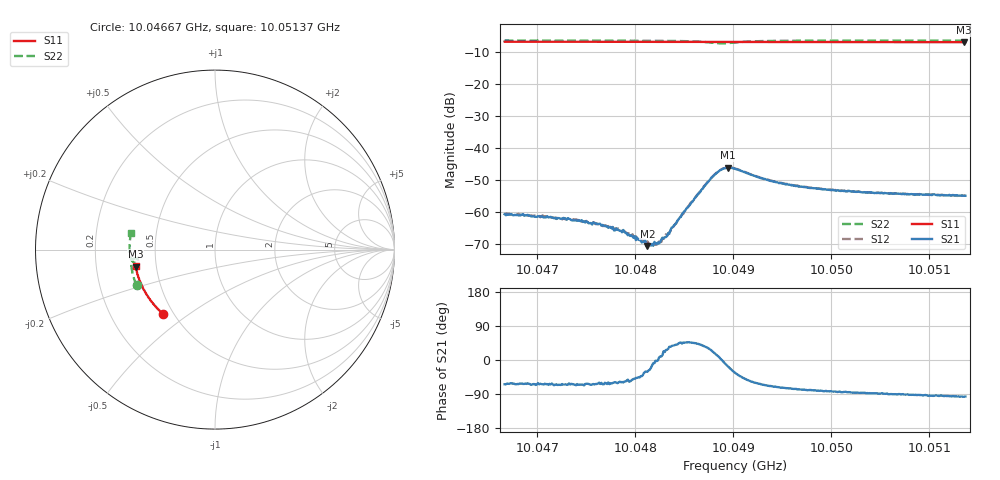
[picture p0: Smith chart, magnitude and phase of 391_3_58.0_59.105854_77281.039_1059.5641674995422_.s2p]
#  HZ  S  RI  R  50.00
! Rohde & Schwarz Vector Network Analyzer
! Rohde-Schwarz,ZNB20-2Port,1311601062101988,3.16
! Created: UTC 3/21/2024, 1:07:51 AM
! freq[Hz]  re:S11  im:S11  re:S21  im:S21  re:S12  im:S12  re:S22  im:S22
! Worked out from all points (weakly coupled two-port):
!   401 points, 10.04667 GHz to 10.05137 GHz, reference 50 ohm
!   highest |S21| = -46.04 dB at 10.04895 GHz (marker M1); lowest = -70.5 dB at 10.04812 GHz (marker M2)
!   lowest |S11| = -6.9 dB at 10.05136 GHz (marker M3), VSWR 2.65, Z = 19 - j4.51 ohm
!   |S11| at or under -10 dB: nowhere
!   |S22| runs from -7.3 to -6.4 dB; largest |S21 - S12| = 0.00034
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1.0046667e10  -0.2916 -0.3562  0.000408 -0.000838  0.000508 -0.000797  -0.4371 -0.1994
1.0047078e10  -0.3112 -0.3379  0.000383 -0.000738  0.000424 -0.00075  -0.4473 -0.1735
1.004729e10  -0.3212 -0.3277  0.000346 -0.000719  0.000382 -0.000672  -0.4519 -0.1599
1.0047455e10  -0.3286 -0.3201  0.000317 -0.000682  0.000342 -0.000627  -0.4552 -0.149
1.0047619e10  -0.336 -0.3119  0.00031 -0.000579  0.000338 -0.000556  -0.4582 -0.1379
1.0047819e10  -0.3444 -0.3017  0.000257 -0.000465  0.000319 -0.000454  -0.4613 -0.124
1.0047889e10  -0.3473 -0.298  0.000271 -0.000418  0.000285 -0.000416  -0.4624 -0.119
1.0048125e10  -0.3568 -0.286  0.000256 -0.000153  0.000304 -0.000175  -0.4651 -0.1015
1.0048136e10  -0.3573 -0.2854  0.000275 -0.000144  0.00031 -0.000107  -0.4651 -0.1006
1.0048207e10  -0.36 -0.2815  0.000329 -1.13e-05  0.00031 -1.54e-05  -0.4657 -0.095
1.0048242e10  -0.3614 -0.2797  0.000323 3.44e-05  0.000341 7.48e-05  -0.4658 -0.0921
1.0048324e10  -0.3646 -0.2752  0.000377 0.000193  0.000373 0.000234  -0.4659 -0.0854
1.0048501e10  -0.3712 -0.2657  0.000721 0.000738  0.000671 0.000769  -0.4639 -0.0692
1.0048771e10  -0.3806 -0.2507  0.00301 0.00151  0.00292 0.00166  -0.4428 -0.0478
1.0048865e10  -0.3837 -0.2455  0.00451 0.000367  0.00449 0.000687  -0.4306 -0.0545
1.0048947e10  -0.3864 -0.2409  0.00477 -0.00147  0.00484 -0.00117  -0.4312 -0.0674
1.0049018e10  -0.3888 -0.2371  0.00397 -0.00264  0.0042 -0.00239  -0.4406 -0.0732
1.0049406e10  -0.4011 -0.2148  0.00104 -0.00282  0.00123 -0.0028  -0.4706 -0.0456
1.0049806e10  -0.4123 -0.191  0.000418 -0.00235  0.000563 -0.00232  -0.4759 -0.0137
1.0050593e10  -0.4301 -0.1427  -7.26e-06 -0.00197  0.000118 -0.00194  -0.4748 0.0417
1.0051357e10  -0.4421 -0.0942  -0.000215 -0.0018  -7.67e-05 -0.00181  -0.4672 0.0926
1.0051369e10  -0.4423 -0.0935  -0.000201 -0.0018  -8.35e-05 -0.00182  -0.4671 0.0934
